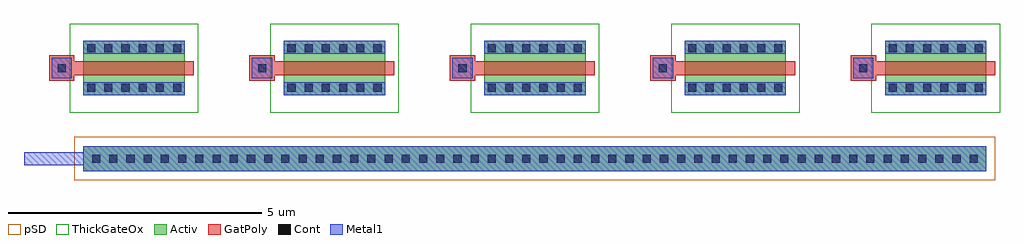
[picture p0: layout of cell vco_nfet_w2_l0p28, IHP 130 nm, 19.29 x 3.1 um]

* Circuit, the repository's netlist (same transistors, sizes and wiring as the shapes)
* extracted by klt extract --deck sg13cmos5l

* cell vco_nfet_w2_l0p28
* pin vsubs
.SUBCKT vco_nfet_w2_l0p28 vsubs
* device instance $1 r0 *1 1.89,3 nfet
X$1 \$12 \$2 \$3 vsubs sg13_hv_nmos L=0.28U W=2U AS=0.8P AD=0.8P PS=4.8U PD=4.8U
* device instance $2 r0 *1 5.03,3 nfet
X$2 \$13 \$4 \$5 vsubs sg13_hv_nmos L=0.28U W=2U AS=0.8P AD=0.8P PS=4.8U PD=4.8U
* device instance $3 r0 *1 8.17,3 nfet
X$3 \$14 \$6 \$7 vsubs sg13_hv_nmos L=0.28U W=2U AS=0.8P AD=0.8P PS=4.8U PD=4.8U
* device instance $4 r0 *1 11.31,3 nfet
X$4 \$15 \$8 \$9 vsubs sg13_hv_nmos L=0.28U W=2U AS=0.8P AD=0.8P PS=4.8U PD=4.8U
* device instance $5 r0 *1 14.45,3 nfet
X$5 \$16 \$10 \$11 vsubs sg13_hv_nmos L=0.28U W=2U AS=0.8P AD=0.8P PS=4.8U
+ PD=4.8U
.ENDS vco_nfet_w2_l0p28

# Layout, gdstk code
import gdstk
lib = gdstk.Library(unit=1e-6, precision=1e-09)
def R(c, l, rs):  # rectangles x0, y0, x1, y1
    for r in rs: c.add(gdstk.rectangle(r[:2], r[2:], *l))
def A(c, l, x, y, w, h, nx, ny, dx, dy):  # array of equal rectangles
    R(c, l, [(x+i*dx, y+j*dy, x+i*dx+w, y+j*dy+h) for i in range(nx) for j in range(ny)])
Activ = (1, 0)
GatPoly = (5, 0)
Cont = (6, 0)
Metal1 = (8, 0)
pSD = (14, 0)
ThickGateOx = (44, 0)

vco_nfet_w2_l0p28 = lib.new_cell('vco_nfet_w2_l0p28')
A(vco_nfet_w2_l0p28, Activ, 1.3, 2.46, 2, 1.08, 5, 1, 3.96, 0)
R(vco_nfet_w2_l0p28, Activ, [(1.3,0.96,19.14,1.46)])
A(vco_nfet_w2_l0p28, GatPoly, 0.62, 2.75, 0.5, 0.5, 5, 1, 3.96, 0)
A(vco_nfet_w2_l0p28, GatPoly, 1.12, 2.86, 2.36, 0.28, 5, 1, 3.96, 0)
A(vco_nfet_w2_l0p28, Cont, 1.47, 1.13, 0.16, 0.16, 52, 1, 0.34, 0)
A(vco_nfet_w2_l0p28, Cont, 1.37, 2.53, 0.16, 0.16, 6, 2, 0.34, 0.78)
A(vco_nfet_w2_l0p28, Cont, 5.33, 2.53, 0.16, 0.16, 6, 2, 0.34, 0.78)
A(vco_nfet_w2_l0p28, Cont, 9.29, 2.53, 0.16, 0.16, 6, 2, 0.34, 0.78)
A(vco_nfet_w2_l0p28, Cont, 13.25, 2.53, 0.16, 0.16, 6, 2, 0.34, 0.78)
A(vco_nfet_w2_l0p28, Cont, 17.21, 2.53, 0.16, 0.16, 6, 2, 0.34, 0.78)
A(vco_nfet_w2_l0p28, Cont, 0.79, 2.92, 0.16, 0.16, 5, 1, 3.96, 0)
A(vco_nfet_w2_l0p28, Metal1, 1.3, 2.46, 2, 0.26, 5, 2, 3.96, 0.82)
A(vco_nfet_w2_l0p28, Metal1, 0.67, 2.8, 0.4, 0.4, 5, 1, 3.96, 0)
R(vco_nfet_w2_l0p28, Metal1, [(1.3,0.96,19.14,1.46), (0.125,1.085,1.3,1.335)])
R(vco_nfet_w2_l0p28, pSD, [(1.12,0.78,19.32,1.64)])
A(vco_nfet_w2_l0p28, ThickGateOx, 1.03, 2.12, 2.54, 1.76, 5, 1, 3.96, 0)

lib.write_gds('vco_nfet_w2_l0p28.gds')
